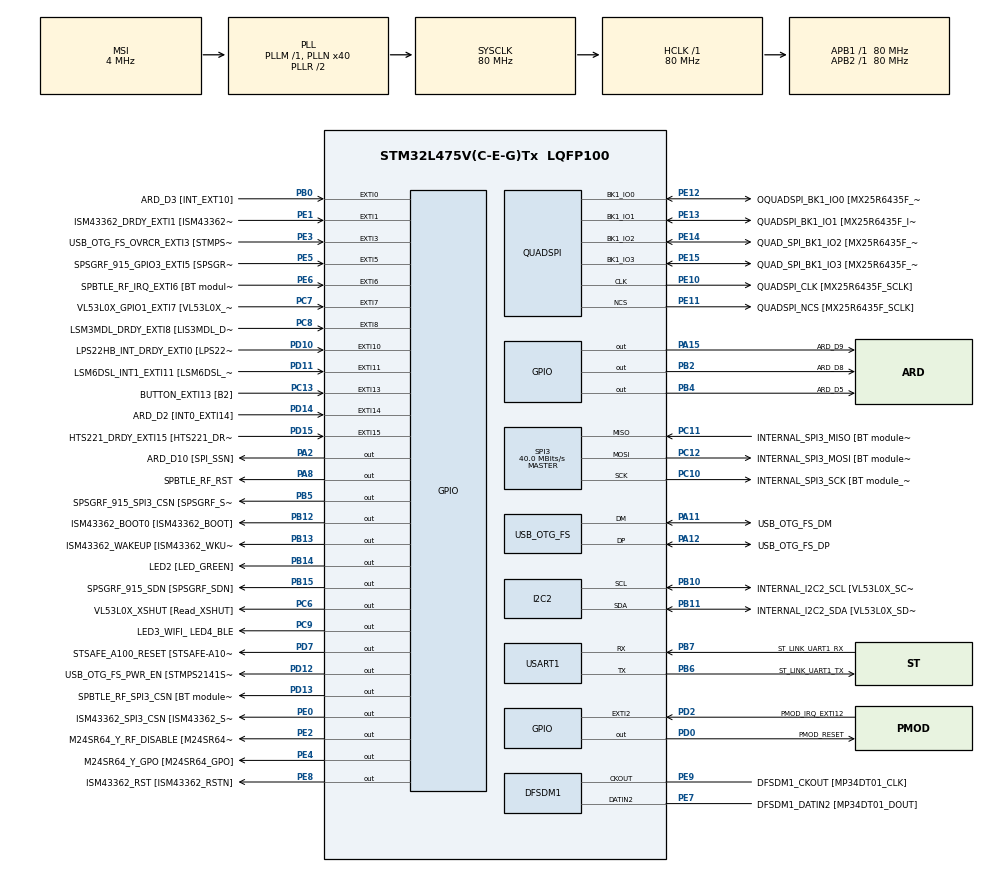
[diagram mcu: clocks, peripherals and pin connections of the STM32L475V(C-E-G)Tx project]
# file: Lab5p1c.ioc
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FREERTOS.BinarySemaphores01=set,Dynamic,NULL,Depleted;sendData,Dynamic,NULL,Available
FREERTOS.Tasks01=defaultTask,8,128,StartDefaultTask,Default,NULL,Dynamic,NULL,NULL;LEDlen,24,128,StartTask02,Default,NULL,Dynamic,NULL,NULL;PrintTask,24,128,StartTask03,Default,NULL,Dynamic,NULL,NULL
FREERTOS.Timers01=HTIM1,Callback1,osTimerPeriodic,Default,NULL,Dynamic,NULL;sendtim,Callback02,osTimerPeriodic,Default,NULL,Dynamic,NULL
FREERTOS.configTOTAL_HEAP_SIZE=6000
I2C2.Timing=0x10D19CE4
Mcu.Family=STM32L4
Mcu.Name=STM32L475V(C-E-G)Tx
Mcu.Package=LQFP100
NVIC.EXTI15_10_IRQn=true\:5\:0\:false\:false\:true\:true\:true\:true\:true
NVIC.EXTI9_5_IRQn=true\:5\:0\:false\:false\:true\:true\:true\:true\:true
NVIC.PriorityGroup=NVIC_PRIORITYGROUP_4
NVIC.TIM6_DAC_IRQn=true\:15\:0\:false\:false\:true\:false\:false\:true\:true
NVIC.TimeBase=TIM6_DAC_IRQn
NVIC.TimeBaseIP=TIM6
PA0.GPIO_Label=ARD_D1 [UART4_TX]
PA0.Signal=UART4_TX
PA1.GPIO_Label=ARD_D0 [UART4_RX]
PA1.Signal=UART4_RX
PA10.GPIO_Label=USB_OTG_FS_ID
PA10.Signal=USB_OTG_FS_ID
PA11.GPIO_Label=USB_OTG_FS_DM
PA11.Mode=Device_Only
PA11.Signal=USB_OTG_FS_DM
PA12.GPIO_Label=USB_OTG_FS_DP
PA12.Mode=Device_Only
PA12.Signal=USB_OTG_FS_DP
PA13\ (JTMS-SWDIO).GPIO_Label=SYS_JTMS_SWDIO
PA13\ (JTMS-SWDIO).Mode=Trace_Asynchronous_SW
PA13\ (JTMS-SWDIO).Signal=SYS_JTMS-SWDIO
PA14\ (JTCK-SWCLK).GPIO_Label=SYS_JTCK_SWCLK
PA14\ (JTCK-SWCLK).Mode=Trace_Asynchronous_SW
PA14\ (JTCK-SWCLK).Signal=SYS_JTCK-SWCLK
PA15\ (JTDI).GPIO_Label=ARD_D9
PA15\ (JTDI).Signal=GPIO_Output
PA2.GPIO_Label=ARD_D10 [SPI_SSN]
PA2.Signal=GPIO_Output
PA3.GPIO_Label=ARD_D4
PA3.Signal=S_TIM2_CH4
PA4.GPIO_Label=ARD_D7
PA4.Signal=ADCx_IN9
PA5.GPIO_Label=ARD_D13 [SPI1_SCK]
PA5.Signal=SPI1_SCK
PA6.GPIO_Label=ARD_D12 [SPI1_MISO]
PA6.Signal=SPI1_MISO
PA7.GPIO_Label=ARD_D11 [SPI1_MOSI]
PA7.Signal=SPI1_MOSI
PA8.GPIO_Label=SPBTLE_RF_RST
PA8.Signal=GPIO_Output
PA9.GPIO_Label=USB_OTG_FS_VBUS [STMPS2141STR_OUT]
PA9.Signal=USB_OTG_FS_VBUS
PB0.GPIO_Label=ARD_D3 [INT_EXT10]
PB0.Signal=GPXTI0
PB1.GPIO_Label=ARD_D6 [ADC1_IN6]
PB1.Signal=ADCx_IN16
PB10.GPIO_Label=INTERNAL_I2C2_SCL [VL53L0X_SCL]
PB10.GPIO_Pu=GPIO_PULLUP
PB10.Mode=I2C
PB10.Signal=I2C2_SCL
PB11.GPIO_Label=INTERNAL_I2C2_SDA [VL53L0X_SDA]
PB11.GPIO_Pu=GPIO_PULLUP
PB11.Mode=I2C
PB11.Signal=I2C2_SDA
PB12.GPIO_Label=ISM43362_BOOT0 [ISM43362_BOOT]
PB12.Signal=GPIO_Output
PB13.GPIO_Label=ISM43362_WAKEUP [ISM43362_WKUP]
PB13.Signal=GPIO_Output
PB14.GPIO_Label=LED2 [LED_GREEN]
PB14.Signal=GPIO_Output
PB15.GPIO_Label=SPSGRF_915_SDN [SPSGRF_SDN]
PB15.Signal=GPIO_Output
PB2.GPIO_Label=ARD_D8
PB2.Signal=GPIO_Output
PB3\ (JTDO-TRACESWO).GPIO_Label=SYS_JTD0_SWO
PB3\ (JTDO-TRACESWO).Mode=Trace_Asynchronous_SW
PB3\ (JTDO-TRACESWO).Signal=SYS_JTDO-SWO
PB4\ (NJTRST).GPIO_Label=ARD_D5
PB4\ (NJTRST).Signal=GPIO_Output
PB5.GPIO_Label=SPSGRF_915_SPI3_CSN [SPSGRF_SPI_CS]
PB5.PinState=GPIO_PIN_SET
PB5.Signal=GPIO_Output
PB6.GPIO_Label=ST_LINK_UART1_TX
PB6.Mode=Asynchronous
PB6.Signal=USART1_TX
PB7.GPIO_Label=ST_LINK_UART1_RX
PB7.Mode=Asynchronous
PB7.Signal=USART1_RX
PB8.GPIO_Label=ARD_D15 [I2C1_SCL]
PB8.Signal=I2C1_SCL
PB9.GPIO_Label=ARD_D14 [I2C1_SDA]
PB9.Signal=I2C1_SDA
PC0.GPIO_Label=ARD_A5 [ADC]
PC0.Signal=ADCx_IN1
PC1.GPIO_Label=ARD_A4 [ADC]
PC1.Signal=ADCx_IN2
PC10.GPIO_Label=INTERNAL_SPI3_SCK [BT module_SPI_SCLK] [ISM43362_SCK]
PC10.Mode=Full_Duplex_Master
PC10.Signal=SPI3_SCK
PC11.GPIO_Label=INTERNAL_SPI3_MISO [BT module_SPI_MISO] [ISM43362_MISO]
PC11.Mode=Full_Duplex_Master
PC11.Signal=SPI3_MISO
PC12.GPIO_Label=INTERNAL_SPI3_MOSI [BT module_SPI_MOSI] [ISM43362_MOSI]
PC12.Mode=Full_Duplex_Master
PC12.Signal=SPI3_MOSI
PC13.GPIO_Label=BUTTON_EXTI13 [B2]
PC13.GPIO_ModeDefaultEXTI=GPIO_MODE_IT_FALLING
PC13.Signal=GPXTI13
PC14-OSC32_IN\ (PC14).Mode=LSE-External-Oscillator
PC14-OSC32_IN\ (PC14).Signal=RCC_OSC32_IN
PC15-OSC32_OUT\ (PC15).Mode=LSE-External-Oscillator
PC15-OSC32_OUT\ (PC15).Signal=RCC_OSC32_OUT
PC2.GPIO_Label=ARD_A3 [ADC]
PC2.Signal=ADCx_IN3
PC3.GPIO_Label=ARD_A2 [ADC]
PC3.Signal=ADCx_IN4
PC4.GPIO_Label=ARD_A1 [ADC]
PC4.Signal=ADCx_IN13
PC5.GPIO_Label=ARD_A0 [ADC]
PC5.Signal=ADCx_IN14
PC6.GPIO_Label=VL53L0X_XSHUT [Read_XSHUT]
PC6.Signal=GPIO_Output
PC7.GPIO_Label=VL53L0X_GPIO1_EXTI7 [VL53L0X_GPIO1]
PC7.Signal=GPXTI7
PC8.GPIO_Label=LSM3MDL_DRDY_EXTI8 [LIS3MDL_DRDY]
PC8.Signal=GPXTI8
PC9.GPIO_Label=LED3_WIFI_ LED4_BLE
PC9.Signal=GPIO_Output
PD0.GPIO_Label=PMOD_RESET
PD0.Signal=GPIO_Output
PD1.GPIO_Label=PMOD_SPI2_SCK
PD1.Signal=SPI2_SCK
PD10.GPIO_Label=LPS22HB_INT_DRDY_EXTI0 [LPS22HB_INT_DRDY] 
PD10.Signal=GPXTI10
PD11.GPIO_Label=LSM6DSL_INT1_EXTI11 [LSM6DSL_INT1]
PD11.Signal=GPXTI11
PD12.GPIO_Label=USB_OTG_FS_PWR_EN [STMPS2141STR_EN]
PD12.Signal=GPIO_Output
PD13.GPIO_Label=SPBTLE_RF_SPI3_CSN [BT module_SPI_CS]
PD13.PinState=GPIO_PIN_SET
PD13.Signal=GPIO_Output
PD14.GPIO_Label=ARD_D2 [INT0_EXTI14]
PD14.Signal=GPXTI14
PD15.GPIO_Label=HTS221_DRDY_EXTI15 [HTS221_DRDY]
PD15.Signal=GPXTI15
PD2.GPIO_Label=PMOD_IRQ_EXTI12
PD2.Signal=GPXTI2
PD3.GPIO_Label=PMOD_UART2_CTS
PD3.Signal=USART2_CTS
PD4.GPIO_Label=PMOD_UART2_RTS
PD4.Signal=USART2_RTS
PD5.GPIO_Label=PMOD_UART2_TX
PD5.Signal=USART2_TX
PD6.GPIO_Label=PMOD_UART2_RX
PD6.Signal=USART2_RX
PD7.GPIO_Label=STSAFE_A100_RESET [STSAFE-A100_RESET]
PD7.Signal=GPIO_Output
PD8.GPIO_Label=INTERNAL_UART3_TX [ISM43362_RX]
PD8.Signal=USART3_TX
PD9.GPIO_Label=INTERNAL_UART3_RX [ISM43362_TX]
PD9.Signal=USART3_RX
PE0.GPIO_Label=ISM43362_SPI3_CSN [ISM43362_SSN]
PE0.PinState=GPIO_PIN_SET
PE0.Signal=GPIO_Output
PE1.GPIO_Label=ISM43362_DRDY_EXTI1 [ISM43362_DATARDY]
PE1.Signal=GPXTI1
PE10.GPIO_Label=QUADSPI_CLK [MX25R6435F_SCLK]
PE10.Mode=Single Bank
PE10.Signal=QUADSPI_CLK
PE11.GPIO_Label=QUADSPI_NCS [MX25R6435F_SCLK]
PE11.Mode=Single Bank
PE11.Signal=QUADSPI_NCS
PE12.GPIO_Label=OQUADSPI_BK1_IO0 [MX25R6435F_IO0]
PE12.Mode=Single Bank
PE12.Signal=QUADSPI_BK1_IO0
PE13.GPIO_Label=QUADSPI_BK1_IO1 [MX25R6435F_IO1]
PE13.Mode=Single Bank
PE13.Signal=QUADSPI_BK1_IO1
PE14.GPIO_Label=QUAD_SPI_BK1_IO2 [MX25R6435F_IO2]
PE14.Mode=Single Bank
PE14.Signal=QUADSPI_BK1_IO2
PE15.GPIO_Label=QUAD_SPI_BK1_IO3 [MX25R6435F_IO3]
PE15.Mode=Single Bank
PE15.Signal=QUADSPI_BK1_IO3
PE2.GPIO_Label=M24SR64_Y_RF_DISABLE [M24SR64_RFDIS]
PE2.Signal=GPIO_Output
PE3.GPIO_Label=USB_OTG_FS_OVRCR_EXTI3 [STMPS2141STR_FAULT]
PE3.Signal=GPXTI3
PE4.GPIO_Label=M24SR64_Y_GPO [M24SR64_GPO]
PE4.Signal=GPIO_Output
PE5.GPIO_Label=SPSGRF_915_GPIO3_EXTI5 [SPSGRF_GPIO_3]
PE5.Signal=GPXTI5
PE6.GPIO_Label=SPBTLE_RF_IRQ_EXTI6 [BT module_SPI_IRQ]
PE6.Signal=GPXTI6
PE7.GPIO_Label=DFSDM1_DATIN2 [MP34DT01_DOUT]
PE7.Signal=S_DATAIN2DFSDM1
PE8.GPIO_Label=ISM43362_RST [ISM43362_RSTN]
PE8.Signal=GPIO_Output
PE9.GPIO_Label=DFSDM1_CKOUT [MP34DT01_CLK]
PE9.Signal=S_CKOUTDFSDM1
ProjectManager.HeapSize=0x200
ProjectManager.StackSize=0x400
ProjectManager.TargetToolchain=STM32CubeIDE
QUADSPI.ClockPrescaler=2
QUADSPI.FifoThreshold=4
QUADSPI.FlashSize=23
QUADSPI.SampleShifting=QSPI_SAMPLE_SHIFTING_HALFCYCLE
RCC.ADCFreq_Value=48000000
RCC.AHBFreq_Value=80000000
RCC.APB1Freq_Value=80000000
RCC.APB1TimFreq_Value=80000000
RCC.APB2Freq_Value=80000000
RCC.APB2TimFreq_Value=80000000
RCC.CortexFreq_Value=80000000
RCC.HCLKFreq_Value=80000000
RCC.HSE_VALUE=8000000
RCC.HSI_VALUE=16000000
RCC.MSI_VALUE=4000000
RCC.PLLN=40
RCC.PLLSAI1N=24
RCC.SYSCLKFreq_VALUE=80000000
RCC.SYSCLKSource=RCC_SYSCLKSOURCE_PLLCLK
RCC.USBFreq_Value=48000000
RCC.VCOOutputFreq_Value=160000000
SH.ADCx_IN1.0=ADC1_IN1
SH.ADCx_IN13.0=ADC1_IN13
SH.ADCx_IN14.0=ADC1_IN14
SH.ADCx_IN16.0=ADC1_IN16
SH.ADCx_IN2.0=ADC1_IN2
SH.ADCx_IN3.0=ADC1_IN3
SH.ADCx_IN4.0=ADC1_IN4
SH.ADCx_IN9.0=ADC1_IN9
SH.S_CKOUTDFSDM1.0=DFSDM1_CKOUT,CKOUT
SH.S_CKOUTDFSDM1.1=DFSDM1_CKOUT,PDM_SPI_Input_from_ch12_and_Internal_Clock
SH.S_DATAIN2DFSDM1.0=DFSDM1_DATIN2,PDM_SPI_Input_from_ch12_and_Internal_Clock
SH.S_TIM2_CH4.0=TIM2_CH4
SPI3.CalculateBaudRate=40.0 MBits/s
SPI3.Direction=SPI_DIRECTION_2LINES
SPI3.Mode=SPI_MODE_MASTER
SPI3.VirtualType=VM_MASTER
USART1.VirtualMode-Asynchronous=VM_ASYNC
USB_OTG_FS.VirtualMode=Device_Only
VP_FREERTOS_VS_CMSIS_V2.Mode=CMSIS_V2
VP_SYS_VS_tim6.Mode=TIM6
board=B-L475E-IOT01A1

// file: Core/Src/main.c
/* USER CODE BEGIN Header */
/**
  ******************************************************************************
  * @file           : main.c
  * @brief          : Main program body
  ******************************************************************************
  * @attention
  *
  * Copyright (c) 2024 STMicroelectronics.
  * All rights reserved.
  *
  * This software is licensed under terms that can be found in the LICENSE file
  * in the root directory of this software component.
  * If no LICENSE file comes with this software, it is provided AS-IS.
  *
  ******************************************************************************
  */
/* USER CODE END Header */
#include "main.h"
#include "cmsis_os.h"

DFSDM_Channel_HandleTypeDef hdfsdm1_channel1;

I2C_HandleTypeDef hi2c2;

QSPI_HandleTypeDef hqspi;

SPI_HandleTypeDef hspi3;

UART_HandleTypeDef huart1;

PCD_HandleTypeDef hpcd_USB_OTG_FS;

/* Definitions for defaultTask */
osThreadId_t defaultTaskHandle;
const osThreadAttr_t defaultTask_attributes = {
  .name = "defaultTask",
  .stack_size = 128 * 4,
  .priority = (osPriority_t) osPriorityLow,
};
/* Definitions for LEDlen */
osThreadId_t LEDlenHandle;
const osThreadAttr_t LEDlen_attributes = {
  .name = "LEDlen",
  .stack_size = 128 * 4,
  .priority = (osPriority_t) osPriorityNormal,
};
/* Definitions for PrintTask */
osThreadId_t PrintTaskHandle;
const osThreadAttr_t PrintTask_attributes = {
  .name = "PrintTask",
  .stack_size = 128 * 4,
  .priority = (osPriority_t) osPriorityNormal,
};
/* Definitions for HTIM1 */
osTimerId_t HTIM1Handle;
const osTimerAttr_t HTIM1_attributes = {
  .name = "HTIM1"
};
/* Definitions for sendtim */
osTimerId_t sendtimHandle;
const osTimerAttr_t sendtim_attributes = {
  .name = "sendtim"
};
/* Definitions for set */
osSemaphoreId_t setHandle;
const osSemaphoreAttr_t set_attributes = {
  .name = "set"
};
/* Definitions for sendData */
osSemaphoreId_t sendDataHandle;
const osSemaphoreAttr_t sendData_attributes = {
  .name = "sendData"
};
/* USER CODE BEGIN PV */
uint8_t toglen=0;
/* USER CODE END PV */

void SystemClock_Config(void);
static void MX_GPIO_Init(void);
static void MX_DFSDM1_Init(void);
static void MX_I2C2_Init(void);
static void MX_QUADSPI_Init(void);
static void MX_SPI3_Init(void);
static void MX_USART1_UART_Init(void);
static void MX_USB_OTG_FS_PCD_Init(void);
void StartDefaultTask(void *argument);
void StartTask02(void *argument);
void StartTask03(void *argument);
void Callback1(void *argument);
void Callback02(void *argument);

int main(void)
{

  /* MCU Configuration--------------------------------------------------------*/

  /* Reset of all peripherals, Initializes the Flash interface and the Systick. */
  HAL_Init();

  /* Configure the system clock */
  SystemClock_Config();

  /* Initialize all configured peripherals */
  MX_GPIO_Init();
  MX_DFSDM1_Init();
  MX_I2C2_Init();
  MX_QUADSPI_Init();
  MX_SPI3_Init();
  MX_USART1_UART_Init();
  MX_USB_OTG_FS_PCD_Init();

  /* Init scheduler */
  osKernelInitialize();

  /* Create the semaphores(s) */
  /* creation of set */
  setHandle = osSemaphoreNew(1, 0, &set_attributes);

  /* creation of sendData */
  sendDataHandle = osSemaphoreNew(1, 1, &sendData_attributes);

  /* Create the timer(s) */
  /* creation of HTIM1 */
  HTIM1Handle = osTimerNew(Callback1, osTimerPeriodic, NULL, &HTIM1_attributes);

  /* creation of sendtim */
  sendtimHandle = osTimerNew(Callback02, osTimerPeriodic, NULL, &sendtim_attributes);

  /* USER CODE BEGIN RTOS_TIMERS */
  /* start timers, add new ones, ... */
  int stat = osTimerStart(HTIM1Handle, 1000);
  stat = osTimerStart(sendtimHandle, 1000);
  /* USER CODE END RTOS_TIMERS */

  /* Create the thread(s) */
  /* creation of defaultTask */
  defaultTaskHandle = osThreadNew(StartDefaultTask, NULL, &defaultTask_attributes);

  /* creation of LEDlen */
  LEDlenHandle = osThreadNew(StartTask02, NULL, &LEDlen_attributes);

  /* creation of PrintTask */
  PrintTaskHandle = osThreadNew(StartTask03, NULL, &PrintTask_attributes);

  /* Start scheduler */
  osKernelStart();

  /* We should never get here as control is now taken by the scheduler */

  /* Infinite loop */
  while (1)
  {

  }
}

void SystemClock_Config(void)
{
  RCC_OscInitTypeDef RCC_OscInitStruct = {0};
  RCC_ClkInitTypeDef RCC_ClkInitStruct = {0};

  /** Configure the main internal regulator output voltage
  */
  if (HAL_PWREx_ControlVoltageScaling(PWR_REGULATOR_VOLTAGE_SCALE1) != HAL_OK)
  {
    Error_Handler();
  }

  /** Configure LSE Drive Capability
  */
  HAL_PWR_EnableBkUpAccess();
  __HAL_RCC_LSEDRIVE_CONFIG(RCC_LSEDRIVE_LOW);

  /** Initializes the RCC Oscillators according to the specified parameters
  * in the RCC_OscInitTypeDef structure.
  */
  RCC_OscInitStruct.OscillatorType = RCC_OSCILLATORTYPE_LSE|RCC_OSCILLATORTYPE_MSI;
  RCC_OscInitStruct.LSEState = RCC_LSE_ON;
  RCC_OscInitStruct.MSIState = RCC_MSI_ON;
  RCC_OscInitStruct.MSICalibrationValue = 0;
  RCC_OscInitStruct.MSIClockRange = RCC_MSIRANGE_6;
  RCC_OscInitStruct.PLL.PLLState = RCC_PLL_ON;
  RCC_OscInitStruct.PLL.PLLSource = RCC_PLLSOURCE_MSI;
  RCC_OscInitStruct.PLL.PLLM = 1;
  RCC_OscInitStruct.PLL.PLLN = 40;
  RCC_OscInitStruct.PLL.PLLP = RCC_PLLP_DIV7;
  RCC_OscInitStruct.PLL.PLLQ = RCC_PLLQ_DIV2;
  RCC_OscInitStruct.PLL.PLLR = RCC_PLLR_DIV2;
  if (HAL_RCC_OscConfig(&RCC_OscInitStruct) != HAL_OK)
  {
    Error_Handler();
  }

  /** Initializes the CPU, AHB and APB buses clocks
  */
  RCC_ClkInitStruct.ClockType = RCC_CLOCKTYPE_HCLK|RCC_CLOCKTYPE_SYSCLK
                              |RCC_CLOCKTYPE_PCLK1|RCC_CLOCKTYPE_PCLK2;
  RCC_ClkInitStruct.SYSCLKSource = RCC_SYSCLKSOURCE_PLLCLK;
  RCC_ClkInitStruct.AHBCLKDivider = RCC_SYSCLK_DIV1;
  RCC_ClkInitStruct.APB1CLKDivider = RCC_HCLK_DIV1;
  RCC_ClkInitStruct.APB2CLKDivider = RCC_HCLK_DIV1;

  if (HAL_RCC_ClockConfig(&RCC_ClkInitStruct, FLASH_LATENCY_4) != HAL_OK)
  {
    Error_Handler();
  }

  /** Enable MSI Auto calibration
  */
  HAL_RCCEx_EnableMSIPLLMode();
}

static void MX_DFSDM1_Init(void)
{

  hdfsdm1_channel1.Instance = DFSDM1_Channel1;
  hdfsdm1_channel1.Init.OutputClock.Activation = ENABLE;
  hdfsdm1_channel1.Init.OutputClock.Selection = DFSDM_CHANNEL_OUTPUT_CLOCK_SYSTEM;
  hdfsdm1_channel1.Init.OutputClock.Divider = 2;
  hdfsdm1_channel1.Init.Input.Multiplexer = DFSDM_CHANNEL_EXTERNAL_INPUTS;
  hdfsdm1_channel1.Init.Input.DataPacking = DFSDM_CHANNEL_STANDARD_MODE;
  hdfsdm1_channel1.Init.Input.Pins = DFSDM_CHANNEL_FOLLOWING_CHANNEL_PINS;
  hdfsdm1_channel1.Init.SerialInterface.Type = DFSDM_CHANNEL_SPI_RISING;
  hdfsdm1_channel1.Init.SerialInterface.SpiClock = DFSDM_CHANNEL_SPI_CLOCK_INTERNAL;
  hdfsdm1_channel1.Init.Awd.FilterOrder = DFSDM_CHANNEL_FASTSINC_ORDER;
  hdfsdm1_channel1.Init.Awd.Oversampling = 1;
  hdfsdm1_channel1.Init.Offset = 0;
  hdfsdm1_channel1.Init.RightBitShift = 0x00;
  if (HAL_DFSDM_ChannelInit(&hdfsdm1_channel1) != HAL_OK)
  {
    Error_Handler();
  }

}

static void MX_I2C2_Init(void)
{

  hi2c2.Instance = I2C2;
  hi2c2.Init.Timing = 0x10D19CE4;
  hi2c2.Init.OwnAddress1 = 0;
  hi2c2.Init.AddressingMode = I2C_ADDRESSINGMODE_7BIT;
  hi2c2.Init.DualAddressMode = I2C_DUALADDRESS_DISABLE;
  hi2c2.Init.OwnAddress2 = 0;
  hi2c2.Init.OwnAddress2Masks = I2C_OA2_NOMASK;
  hi2c2.Init.GeneralCallMode = I2C_GENERALCALL_DISABLE;
  hi2c2.Init.NoStretchMode = I2C_NOSTRETCH_DISABLE;
  if (HAL_I2C_Init(&hi2c2) != HAL_OK)
  {
    Error_Handler();
  }

  /** Configure Analogue filter
  */
  if (HAL_I2CEx_ConfigAnalogFilter(&hi2c2, I2C_ANALOGFILTER_ENABLE) != HAL_OK)
  {
    Error_Handler();
  }

  /** Configure Digital filter
  */
  if (HAL_I2CEx_ConfigDigitalFilter(&hi2c2, 0) != HAL_OK)
  {
    Error_Handler();
  }

}

static void MX_QUADSPI_Init(void)
{

  /* QUADSPI parameter configuration*/
  hqspi.Instance = QUADSPI;
  hqspi.Init.ClockPrescaler = 2;
  hqspi.Init.FifoThreshold = 4;
  hqspi.Init.SampleShifting = QSPI_SAMPLE_SHIFTING_HALFCYCLE;
  hqspi.Init.FlashSize = 23;
  hqspi.Init.ChipSelectHighTime = QSPI_CS_HIGH_TIME_1_CYCLE;
  hqspi.Init.ClockMode = QSPI_CLOCK_MODE_0;
  if (HAL_QSPI_Init(&hqspi) != HAL_OK)
  {
    Error_Handler();
  }

}

static void MX_SPI3_Init(void)
{

  /* SPI3 parameter configuration*/
  hspi3.Instance = SPI3;
  hspi3.Init.Mode = SPI_MODE_MASTER;
  hspi3.Init.Direction = SPI_DIRECTION_2LINES;
  hspi3.Init.DataSize = SPI_DATASIZE_4BIT;
  hspi3.Init.CLKPolarity = SPI_POLARITY_LOW;
  hspi3.Init.CLKPhase = SPI_PHASE_1EDGE;
  hspi3.Init.NSS = SPI_NSS_SOFT;
  hspi3.Init.BaudRatePrescaler = SPI_BAUDRATEPRESCALER_2;
  hspi3.Init.FirstBit = SPI_FIRSTBIT_MSB;
  hspi3.Init.TIMode = SPI_TIMODE_DISABLE;
  hspi3.Init.CRCCalculation = SPI_CRCCALCULATION_DISABLE;
  hspi3.Init.CRCPolynomial = 7;
  hspi3.Init.CRCLength = SPI_CRC_LENGTH_DATASIZE;
  hspi3.Init.NSSPMode = SPI_NSS_PULSE_ENABLE;
  if (HAL_SPI_Init(&hspi3) != HAL_OK)
  {
    Error_Handler();
  }

}

static void MX_USART1_UART_Init(void)
{

  huart1.Instance = USART1;
  huart1.Init.BaudRate = 115200;
  huart1.Init.WordLength = UART_WORDLENGTH_8B;
  huart1.Init.StopBits = UART_STOPBITS_1;
  huart1.Init.Parity = UART_PARITY_NONE;
  huart1.Init.Mode = UART_MODE_TX_RX;
  huart1.Init.HwFlowCtl = UART_HWCONTROL_NONE;
  huart1.Init.OverSampling = UART_OVERSAMPLING_16;
  huart1.Init.OneBitSampling = UART_ONE_BIT_SAMPLE_DISABLE;
  huart1.AdvancedInit.AdvFeatureInit = UART_ADVFEATURE_NO_INIT;
  if (HAL_UART_Init(&huart1) != HAL_OK)
  {
    Error_Handler();
  }

}

static void MX_USB_OTG_FS_PCD_Init(void)
{

  hpcd_USB_OTG_FS.Instance = USB_OTG_FS;
  hpcd_USB_OTG_FS.Init.dev_endpoints = 6;
  hpcd_USB_OTG_FS.Init.speed = PCD_SPEED_FULL;
  hpcd_USB_OTG_FS.Init.phy_itface = PCD_PHY_EMBEDDED;
  hpcd_USB_OTG_FS.Init.Sof_enable = DISABLE;
  hpcd_USB_OTG_FS.Init.low_power_enable = DISABLE;
  hpcd_USB_OTG_FS.Init.lpm_enable = DISABLE;
  hpcd_USB_OTG_FS.Init.battery_charging_enable = DISABLE;
  hpcd_USB_OTG_FS.Init.use_dedicated_ep1 = DISABLE;
  hpcd_USB_OTG_FS.Init.vbus_sensing_enable = DISABLE;
  if (HAL_PCD_Init(&hpcd_USB_OTG_FS) != HAL_OK)
  {
    Error_Handler();
  }

}

static void MX_GPIO_Init(void)
{
  GPIO_InitTypeDef GPIO_InitStruct = {0};

  /* GPIO Ports Clock Enable */
  __HAL_RCC_GPIOE_CLK_ENABLE();
  __HAL_RCC_GPIOC_CLK_ENABLE();
  __HAL_RCC_GPIOA_CLK_ENABLE();
  __HAL_RCC_GPIOB_CLK_ENABLE();
  __HAL_RCC_GPIOD_CLK_ENABLE();

  /*Configure GPIO pin Output Level */
  HAL_GPIO_WritePin(GPIOE, M24SR64_Y_RF_DISABLE_Pin|M24SR64_Y_GPO_Pin|ISM43362_RST_Pin, GPIO_PIN_RESET);

  /*Configure GPIO pin Output Level */
  HAL_GPIO_WritePin(GPIOA, ARD_D10_Pin|SPBTLE_RF_RST_Pin|ARD_D9_Pin, GPIO_PIN_RESET);

  /*Configure GPIO pin Output Level */
  HAL_GPIO_WritePin(GPIOB, ARD_D8_Pin|ISM43362_BOOT0_Pin|ISM43362_WAKEUP_Pin|LED2_Pin
                          |SPSGRF_915_SDN_Pin|ARD_D5_Pin, GPIO_PIN_RESET);

  /*Configure GPIO pin Output Level */
  HAL_GPIO_WritePin(GPIOD, USB_OTG_FS_PWR_EN_Pin|PMOD_RESET_Pin|STSAFE_A100_RESET_Pin, GPIO_PIN_RESET);

  /*Configure GPIO pin Output Level */
  HAL_GPIO_WritePin(SPBTLE_RF_SPI3_CSN_GPIO_Port, SPBTLE_RF_SPI3_CSN_Pin, GPIO_PIN_SET);

  /*Configure GPIO pin Output Level */
  HAL_GPIO_WritePin(GPIOC, VL53L0X_XSHUT_Pin|LED3_WIFI__LED4_BLE_Pin, GPIO_PIN_RESET);

  /*Configure GPIO pin Output Level */
  HAL_GPIO_WritePin(SPSGRF_915_SPI3_CSN_GPIO_Port, SPSGRF_915_SPI3_CSN_Pin, GPIO_PIN_SET);

  /*Configure GPIO pin Output Level */
  HAL_GPIO_WritePin(ISM43362_SPI3_CSN_GPIO_Port, ISM43362_SPI3_CSN_Pin, GPIO_PIN_SET);

  /*Configure GPIO pins : M24SR64_Y_RF_DISABLE_Pin M24SR64_Y_GPO_Pin ISM43362_RST_Pin ISM43362_SPI3_CSN_Pin */
  GPIO_InitStruct.Pin = M24SR64_Y_RF_DISABLE_Pin|M24SR64_Y_GPO_Pin|ISM43362_RST_Pin|ISM43362_SPI3_CSN_Pin;
  GPIO_InitStruct.Mode = GPIO_MODE_OUTPUT_PP;
  GPIO_InitStruct.Pull = GPIO_NOPULL;
  GPIO_InitStruct.Speed = GPIO_SPEED_FREQ_LOW;
  HAL_GPIO_Init(GPIOE, &GPIO_InitStruct);

  /*Configure GPIO pins : USB_OTG_FS_OVRCR_EXTI3_Pin SPSGRF_915_GPIO3_EXTI5_Pin SPBTLE_RF_IRQ_EXTI6_Pin ISM43362_DRDY_EXTI1_Pin */
  GPIO_InitStruct.Pin = USB_OTG_FS_OVRCR_EXTI3_Pin|SPSGRF_915_GPIO3_EXTI5_Pin|SPBTLE_RF_IRQ_EXTI6_Pin|ISM43362_DRDY_EXTI1_Pin;
  GPIO_InitStruct.Mode = GPIO_MODE_IT_RISING;
  GPIO_InitStruct.Pull = GPIO_NOPULL;
  HAL_GPIO_Init(GPIOE, &GPIO_InitStruct);

  /*Configure GPIO pin : BUTTON_EXTI13_Pin */
  GPIO_InitStruct.Pin = BUTTON_EXTI13_Pin;
  GPIO_InitStruct.Mode = GPIO_MODE_IT_FALLING;
  GPIO_InitStruct.Pull = GPIO_NOPULL;
  HAL_GPIO_Init(BUTTON_EXTI13_GPIO_Port, &GPIO_InitStruct);

  /*Configure GPIO pins : ARD_A5_Pin ARD_A4_Pin ARD_A3_Pin ARD_A2_Pin
                           ARD_A1_Pin ARD_A0_Pin */
  GPIO_InitStruct.Pin = ARD_A5_Pin|ARD_A4_Pin|ARD_A3_Pin|ARD_A2_Pin
                          |ARD_A1_Pin|ARD_A0_Pin;
  GPIO_InitStruct.Mode = GPIO_MODE_ANALOG_ADC_CONTROL;
  GPIO_InitStruct.Pull = GPIO_NOPULL;
  HAL_GPIO_Init(GPIOC, &GPIO_InitStruct);

  /*Configure GPIO pins : ARD_D1_Pin ARD_D0_Pin */
  GPIO_InitStruct.Pin = ARD_D1_Pin|ARD_D0_Pin;
  GPIO_InitStruct.Mode = GPIO_MODE_AF_PP;
  GPIO_InitStruct.Pull = GPIO_NOPULL;
  GPIO_InitStruct.Speed = GPIO_SPEED_FREQ_VERY_HIGH;
  GPIO_InitStruct.Alternate = GPIO_AF8_UART4;
  HAL_GPIO_Init(GPIOA, &GPIO_InitStruct);

  /*Configure GPIO pins : ARD_D10_Pin SPBTLE_RF_RST_Pin ARD_D9_Pin */
  GPIO_InitStruct.Pin = ARD_D10_Pin|SPBTLE_RF_RST_Pin|ARD_D9_Pin;
  GPIO_InitStruct.Mode = GPIO_MODE_OUTPUT_PP;
  GPIO_InitStruct.Pull = GPIO_NOPULL;
  GPIO_InitStruct.Speed = GPIO_SPEED_FREQ_LOW;
  HAL_GPIO_Init(GPIOA, &GPIO_InitStruct);

  /*Configure GPIO pin : ARD_D4_Pin */
  GPIO_InitStruct.Pin = ARD_D4_Pin;
  GPIO_InitStruct.Mode = GPIO_MODE_AF_PP;
  GPIO_InitStruct.Pull = GPIO_NOPULL;
  GPIO_InitStruct.Speed = GPIO_SPEED_FREQ_LOW;
  GPIO_InitStruct.Alternate = GPIO_AF1_TIM2;
  HAL_GPIO_Init(ARD_D4_GPIO_Port, &GPIO_InitStruct);

  /*Configure GPIO pin : ARD_D7_Pin */
  GPIO_InitStruct.Pin = ARD_D7_Pin;
  GPIO_InitStruct.Mode = GPIO_MODE_ANALOG_ADC_CONTROL;
  GPIO_InitStruct.Pull = GPIO_NOPULL;
  HAL_GPIO_Init(ARD_D7_GPIO_Port, &GPIO_InitStruct);

  /*Configure GPIO pins : ARD_D13_Pin ARD_D12_Pin ARD_D11_Pin */
  GPIO_InitStruct.Pin = ARD_D13_Pin|ARD_D12_Pin|ARD_D11_Pin;
  GPIO_InitStruct.Mode = GPIO_MODE_AF_PP;
  GPIO_InitStruct.Pull = GPIO_NOPULL;
  GPIO_InitStruct.Speed = GPIO_SPEED_FREQ_VERY_HIGH;
  GPIO_InitStruct.Alternate = GPIO_AF5_SPI1;
  HAL_GPIO_Init(GPIOA, &GPIO_InitStruct);

  /*Configure GPIO pin : ARD_D3_Pin */
  GPIO_InitStruct.Pin = ARD_D3_Pin;
  GPIO_InitStruct.Mode = GPIO_MODE_IT_RISING;
  GPIO_InitStruct.Pull = GPIO_NOPULL;
  HAL_GPIO_Init(ARD_D3_GPIO_Port, &GPIO_InitStruct);

  /*Configure GPIO pin : ARD_D6_Pin */
  GPIO_InitStruct.Pin = ARD_D6_Pin;
  GPIO_InitStruct.Mode = GPIO_MODE_ANALOG_ADC_CONTROL;
  GPIO_InitStruct.Pull = GPIO_NOPULL;
  HAL_GPIO_Init(ARD_D6_GPIO_Port, &GPIO_InitStruct);

  /*Configure GPIO pins : ARD_D8_Pin ISM43362_BOOT0_Pin ISM43362_WAKEUP_Pin LED2_Pin
                           SPSGRF_915_SDN_Pin ARD_D5_Pin SPSGRF_915_SPI3_CSN_Pin */
  GPIO_InitStruct.Pin = ARD_D8_Pin|ISM43362_BOOT0_Pin|ISM43362_WAKEUP_Pin|LED2_Pin
                          |SPSGRF_915_SDN_Pin|ARD_D5_Pin|SPSGRF_915_SPI3_CSN_Pin;
  GPIO_InitStruct.Mode = GPIO_MODE_OUTPUT_PP;
  GPIO_InitStruct.Pull = GPIO_NOPULL;
  GPIO_InitStruct.Speed = GPIO_SPEED_FREQ_LOW;
  HAL_GPIO_Init(GPIOB, &GPIO_InitStruct);

  /*Configure GPIO pins : INTERNAL_UART3_TX_Pin INTERNAL_UART3_RX_Pin */
  GPIO_InitStruct.Pin = INTERNAL_UART3_TX_Pin|INTERNAL_UART3_RX_Pin;
  GPIO_InitStruct.Mode = GPIO_MODE_AF_PP;
  GPIO_InitStruct.Pull = GPIO_NOPULL;
  GPIO_InitStruct.Speed = GPIO_SPEED_FREQ_VERY_HIGH;
  GPIO_InitStruct.Alternate = GPIO_AF7_USART3;
  HAL_GPIO_Init(GPIOD, &GPIO_InitStruct);

  /*Configure GPIO pins : LPS22HB_INT_DRDY_EXTI0_Pin LSM6DSL_INT1_EXTI11_Pin ARD_D2_Pin HTS221_DRDY_EXTI15_Pin
                           PMOD_IRQ_EXTI12_Pin */
  GPIO_InitStruct.Pin = LPS22HB_INT_DRDY_EXTI0_Pin|LSM6DSL_INT1_EXTI11_Pin|ARD_D2_Pin|HTS221_DRDY_EXTI15_Pin
                          |PMOD_IRQ_EXTI12_Pin;
  GPIO_InitStruct.Mode = GPIO_MODE_IT_RISING;
  GPIO_InitStruct.Pull = GPIO_NOPULL;
  HAL_GPIO_Init(GPIOD, &GPIO_InitStruct);

  /*Configure GPIO pins : USB_OTG_FS_PWR_EN_Pin SPBTLE_RF_SPI3_CSN_Pin PMOD_RESET_Pin STSAFE_A100_RESET_Pin */
  GPIO_InitStruct.Pin = USB_OTG_FS_PWR_EN_Pin|SPBTLE_RF_SPI3_CSN_Pin|PMOD_RESET_Pin|STSAFE_A100_RESET_Pin;
  GPIO_InitStruct.Mode = GPIO_MODE_OUTPUT_PP;
  GPIO_InitStruct.Pull = GPIO_NOPULL;
  GPIO_InitStruct.Speed = GPIO_SPEED_FREQ_LOW;
  HAL_GPIO_Init(GPIOD, &GPIO_InitStruct);

  /*Configure GPIO pins : VL53L0X_XSHUT_Pin LED3_WIFI__LED4_BLE_Pin */
  GPIO_InitStruct.Pin = VL53L0X_XSHUT_Pin|LED3_WIFI__LED4_BLE_Pin;
  GPIO_InitStruct.Mode = GPIO_MODE_OUTPUT_PP;
  GPIO_InitStruct.Pull = GPIO_NOPULL;
  GPIO_InitStruct.Speed = GPIO_SPEED_FREQ_LOW;
  HAL_GPIO_Init(GPIOC, &GPIO_InitStruct);

  /*Configure GPIO pins : VL53L0X_GPIO1_EXTI7_Pin LSM3MDL_DRDY_EXTI8_Pin */
  GPIO_InitStruct.Pin = VL53L0X_GPIO1_EXTI7_Pin|LSM3MDL_DRDY_EXTI8_Pin;
  GPIO_InitStruct.Mode = GPIO_MODE_IT_RISING;
  GPIO_InitStruct.Pull = GPIO_NOPULL;
  HAL_GPIO_Init(GPIOC, &GPIO_InitStruct);

  /*Configure GPIO pin : PMOD_SPI2_SCK_Pin */
  GPIO_InitStruct.Pin = PMOD_SPI2_SCK_Pin;
  GPIO_InitStruct.Mode = GPIO_MODE_AF_PP;
  GPIO_InitStruct.Pull = GPIO_NOPULL;
  GPIO_InitStruct.Speed = GPIO_SPEED_FREQ_VERY_HIGH;
  GPIO_InitStruct.Alternate = GPIO_AF5_SPI2;
  HAL_GPIO_Init(PMOD_SPI2_SCK_GPIO_Port, &GPIO_InitStruct);

  /*Configure GPIO pins : PMOD_UART2_CTS_Pin PMOD_UART2_RTS_Pin PMOD_UART2_TX_Pin PMOD_UART2_RX_Pin */
  GPIO_InitStruct.Pin = PMOD_UART2_CTS_Pin|PMOD_UART2_RTS_Pin|PMOD_UART2_TX_Pin|PMOD_UART2_RX_Pin;
  GPIO_InitStruct.Mode = GPIO_MODE_AF_PP;
  GPIO_InitStruct.Pull = GPIO_NOPULL;
  GPIO_InitStruct.Speed = GPIO_SPEED_FREQ_VERY_HIGH;
  GPIO_InitStruct.Alternate = GPIO_AF7_USART2;
  HAL_GPIO_Init(GPIOD, &GPIO_InitStruct);

  /*Configure GPIO pins : ARD_D15_Pin ARD_D14_Pin */
  GPIO_InitStruct.Pin = ARD_D15_Pin|ARD_D14_Pin;
  GPIO_InitStruct.Mode = GPIO_MODE_AF_OD;
  GPIO_InitStruct.Pull = GPIO_NOPULL;
  GPIO_InitStruct.Speed = GPIO_SPEED_FREQ_VERY_HIGH;
  GPIO_InitStruct.Alternate = GPIO_AF4_I2C1;
  HAL_GPIO_Init(GPIOB, &GPIO_InitStruct);

  /* EXTI interrupt init*/
  HAL_NVIC_SetPriority(EXTI9_5_IRQn, 5, 0);
  HAL_NVIC_EnableIRQ(EXTI9_5_IRQn);

  HAL_NVIC_SetPriority(EXTI15_10_IRQn, 5, 0);
  HAL_NVIC_EnableIRQ(EXTI15_10_IRQn);

}

/* USER CODE BEGIN 4 */
void HAL_GPIO_EXTI_Callback(uint16_t GPIO_Pin) {
	if (GPIO_Pin == GPIO_PIN_13) {
		osThreadFlagsSet(LEDlenHandle, 0x0001);
		//printf("Button Pressed\n");
		//osSemaphoreRelease(setHandle);
		}
}
/* USER CODE END 4 */

void StartDefaultTask(void *argument)
{
  for(;;)
  {
    osDelay(1);
  }
}

void StartTask02(void *argument)
{
  /* USER CODE BEGIN StartTask02 */
  /* Infinite loop */
  for(;;)
  {
		osThreadFlagsWait(0x0001, osFlagsWaitAny, osWaitForever);
	    toglen=(toglen+1)%3;

	    osTimerStop(HTIM1Handle);
	    int stat = osTimerStart(HTIM1Handle, 1000*(1+toglen));

  }
  /* USER CODE END StartTask02 */
}

void StartTask03(void *argument)
{
  /* USER CODE BEGIN StartTask03 */
  /* Infinite loop */
  for(;;)
  {
	  osThreadFlagsWait(0x0001, osFlagsWaitAny, osWaitForever);
	  char buff[4];//="hello WOrld\r\n";

	  snprintf(buff, sizeof(buff), "%d\r\n",toglen);
	  HAL_UART_Transmit(&huart1, buff, sizeof(buff), 2000);
  }
  /* USER CODE END StartTask03 */
}

/* Callback1 function */
void Callback1(void *argument)
{
  /* USER CODE BEGIN Callback1 */
	HAL_GPIO_TogglePin (GPIOB, GPIO_PIN_14);
  /* USER CODE END Callback1 */
}

/* Callback02 function */
void Callback02(void *argument)
{
  /* USER CODE BEGIN Callback02 */
	osThreadFlagsSet(PrintTaskHandle, 0x0001);
  /* USER CODE END Callback02 */
}

void HAL_TIM_PeriodElapsedCallback(TIM_HandleTypeDef *htim)
{
  if (htim->Instance == TIM6) {
    HAL_IncTick();
  }
}

void Error_Handler(void)
{
  __disable_irq();
  while (1)
  {
  }
}
